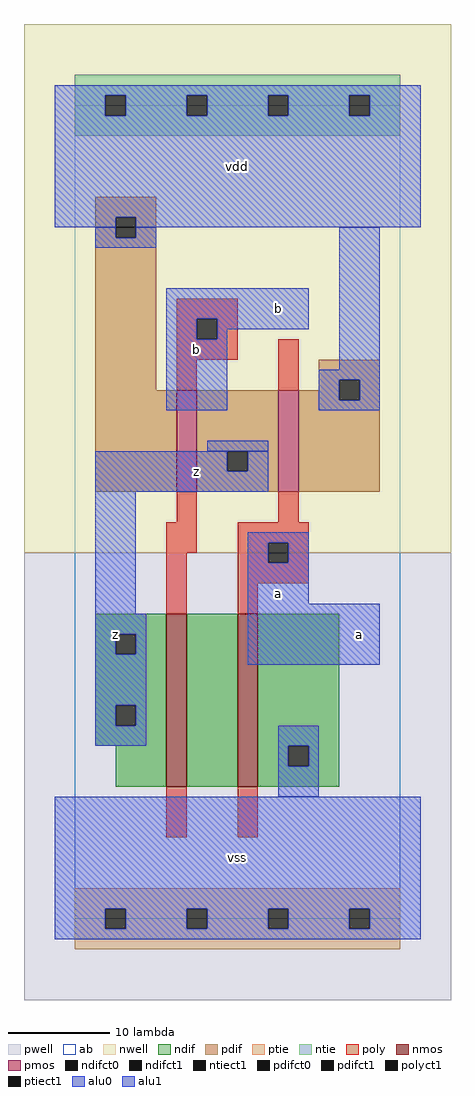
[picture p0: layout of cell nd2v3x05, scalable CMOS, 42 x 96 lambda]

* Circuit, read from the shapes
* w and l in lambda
.subckt nd2v3x05 a b vdd vss z
M1 n1 b z vss nfet w=17 l=2
M2 vss a n1 vss nfet w=17 l=2
M3 z b vdd vdd pfet w=10 l=2
M4 vdd a z vdd pfet w=10 l=2
.ends

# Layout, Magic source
magic
tech scmos
<< ab >>
rect 0 0 32 80
<< nwell >>
rect -5 36 37 88
<< pwell >>
rect -5 -8 37 36
<< poly >>
rect 10 59 16 61
rect 10 57 12 59
rect 14 57 16 59
rect 10 55 16 57
rect 10 52 12 55
rect 20 52 22 57
rect 10 39 12 42
rect 20 39 22 42
rect 9 36 12 39
rect 16 37 23 39
rect 9 30 11 36
rect 16 35 19 37
rect 21 35 23 37
rect 16 33 23 35
rect 16 30 18 33
rect 9 8 11 13
rect 16 8 18 13
<< ndif >>
rect 2 28 9 30
rect 2 26 4 28
rect 6 26 9 28
rect 2 21 9 26
rect 2 19 4 21
rect 6 19 9 21
rect 2 17 9 19
rect 4 13 9 17
rect 11 13 16 30
rect 18 17 26 30
rect 18 15 21 17
rect 23 15 26 17
rect 18 13 26 15
<< pdif >>
rect 2 69 8 71
rect 2 67 4 69
rect 6 67 8 69
rect 2 52 8 67
rect 24 53 30 55
rect 24 52 26 53
rect 2 42 10 52
rect 12 46 20 52
rect 12 44 15 46
rect 17 44 20 46
rect 12 42 20 44
rect 22 51 26 52
rect 28 51 30 53
rect 22 42 30 51
<< alu1 >>
rect -2 81 34 82
rect -2 79 3 81
rect 5 79 11 81
rect 13 79 19 81
rect 21 79 27 81
rect 29 79 34 81
rect -2 69 34 79
rect -2 68 4 69
rect 6 68 34 69
rect 9 59 23 62
rect 9 57 12 59
rect 14 58 23 59
rect 14 57 15 58
rect 9 50 15 57
rect 2 44 15 46
rect 17 44 19 46
rect 2 42 19 44
rect 2 30 6 42
rect 17 37 23 38
rect 17 35 19 37
rect 21 35 23 37
rect 17 31 23 35
rect 2 28 7 30
rect 2 26 4 28
rect 6 26 7 28
rect 2 21 7 26
rect 17 25 30 31
rect 2 19 4 21
rect 6 19 7 21
rect 2 17 7 19
rect -2 1 34 12
rect -2 -1 3 1
rect 5 -1 11 1
rect 13 -1 19 1
rect 21 -1 27 1
rect 29 -1 34 1
rect -2 -2 34 -1
<< ptie >>
rect 0 1 32 3
rect 0 -1 3 1
rect 5 -1 11 1
rect 13 -1 19 1
rect 21 -1 27 1
rect 29 -1 32 1
rect 0 -3 32 -1
<< ntie >>
rect 0 81 32 83
rect 0 79 3 81
rect 5 79 11 81
rect 13 79 19 81
rect 21 79 27 81
rect 29 79 32 81
rect 0 77 32 79
<< nmos >>
rect 9 13 11 30
rect 16 13 18 30
<< pmos >>
rect 10 42 12 52
rect 20 42 22 52
<< polyct1 >>
rect 12 57 14 59
rect 19 35 21 37
<< ndifct0 >>
rect 21 15 23 17
<< ndifct1 >>
rect 4 26 6 28
rect 4 19 6 21
<< ntiect1 >>
rect 3 79 5 81
rect 11 79 13 81
rect 19 79 21 81
rect 27 79 29 81
<< ptiect1 >>
rect 3 -1 5 1
rect 11 -1 13 1
rect 19 -1 21 1
rect 27 -1 29 1
<< pdifct0 >>
rect 4 67 6 68
rect 26 51 28 53
<< pdifct1 >>
rect 4 68 6 69
rect 15 44 17 46
<< alu0 >>
rect 2 67 4 68
rect 6 67 8 68
rect 2 66 8 67
rect 26 54 30 68
rect 24 53 30 54
rect 24 51 26 53
rect 28 51 30 53
rect 24 50 30 51
rect 13 46 19 47
rect 20 17 24 19
rect 20 15 21 17
rect 23 15 24 17
rect 20 12 24 15
<< labels >>
rlabel alu1 4 28 4 28 6 z
rlabel alu1 12 44 12 44 6 z
rlabel alu1 12 56 12 56 6 b
rlabel alu1 16 6 16 6 6 vss
rlabel alu1 20 32 20 32 6 a
rlabel alu1 20 60 20 60 6 b
rlabel alu1 16 74 16 74 6 vdd
rlabel alu1 28 28 28 28 6 a
<< end >>
